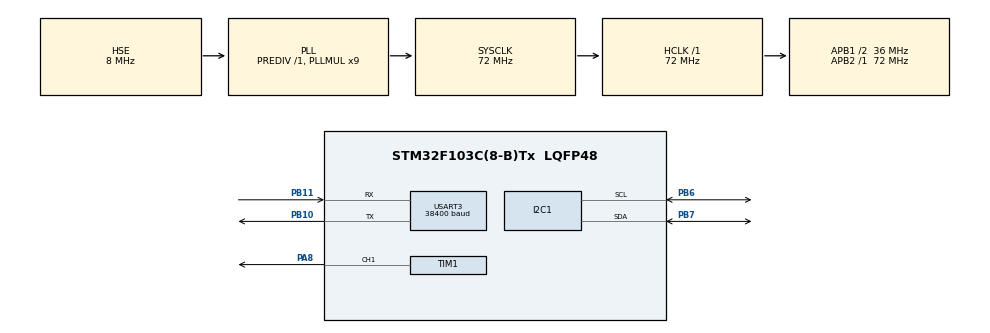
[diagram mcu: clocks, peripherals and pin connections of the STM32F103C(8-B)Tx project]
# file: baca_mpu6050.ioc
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I2C1.I2C_Mode=I2C_Fast
Mcu.Family=STM32F1
Mcu.Name=STM32F103C(8-B)Tx
Mcu.Package=LQFP48
NVIC.PriorityGroup=NVIC_PRIORITYGROUP_4
PA13.Mode=Serial_Wire
PA13.Signal=SYS_JTMS-SWDIO
PA14.Mode=Serial_Wire
PA14.Signal=SYS_JTCK-SWCLK
PA8.Signal=S_TIM1_CH1
PB10.Mode=Asynchronous
PB10.Signal=USART3_TX
PB11.Mode=Asynchronous
PB11.Signal=USART3_RX
PB6.Mode=I2C
PB6.Signal=I2C1_SCL
PB7.Mode=I2C
PB7.Signal=I2C1_SDA
PD0-OSC_IN.Mode=HSE-External-Oscillator
PD0-OSC_IN.Signal=RCC_OSC_IN
PD1-OSC_OUT.Mode=HSE-External-Oscillator
PD1-OSC_OUT.Signal=RCC_OSC_OUT
ProjectManager.HeapSize=0x200
ProjectManager.StackSize=0x400
ProjectManager.TargetToolchain=TrueSTUDIO
RCC.AHBFreq_Value=72000000
RCC.APB1CLKDivider=RCC_HCLK_DIV2
RCC.APB1Freq_Value=36000000
RCC.APB1TimFreq_Value=72000000
RCC.APB2Freq_Value=72000000
RCC.APB2TimFreq_Value=72000000
RCC.HCLKFreq_Value=72000000
RCC.PLLMUL=RCC_PLL_MUL9
RCC.PLLSourceVirtual=RCC_PLLSOURCE_HSE
RCC.SYSCLKFreq_VALUE=72000000
RCC.SYSCLKSource=RCC_SYSCLKSOURCE_PLLCLK
RCC.USBFreq_Value=72000000
SH.S_TIM1_CH1.0=TIM1_CH1,PWM Generation1 CH1
TIM1.Channel-PWM\ Generation1\ CH1=TIM_CHANNEL_1
TIM1.ClockDivision=TIM_CLOCKDIVISION_DIV4
TIM1.Period=9999
TIM1.Prescaler=35
USART3.BaudRate=38400
USART3.VirtualMode=VM_ASYNC
VP_TIM1_VS_ClockSourceINT.Mode=Internal
board=custom

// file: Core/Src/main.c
/* USER CODE BEGIN Header */
/**
  ******************************************************************************
  * @file           : main.c
  * @brief          : Main program body
  ******************************************************************************
  * @attention
  *
  * <h2><center>&copy; Copyright (c) 2021 STMicroelectronics.
  * All rights reserved.</center></h2>
  *
  * This software component is licensed by ST under BSD 3-Clause license,
  * the "License"; You may not use this file except in compliance with the
  * License. You may obtain a copy of the License at:
  *                        opensource.org/licenses/BSD-3-Clause
  *
  ******************************************************************************
  */
/* USER CODE END Header */
#include "main.h"

/* USER CODE BEGIN Includes */
#include "string.h"
#include "stdbool.h"
#include "math.h"
/* USER CODE END Includes */

I2C_HandleTypeDef hi2c1;

TIM_HandleTypeDef htim1;

UART_HandleTypeDef huart3;

void SystemClock_Config(void);
static void MX_GPIO_Init(void);
static void MX_I2C1_Init(void);
static void MX_USART3_UART_Init(void);
static void MX_TIM1_Init(void);
void HAL_TIM_MspPostInit(TIM_HandleTypeDef *htim);

/* USER CODE BEGIN 0 */

////////////////////////////////////////GABUNGAN REGISTER//////////////////////////////////////////
#define MPU_ADDRESS 0x68<<1
uint8_t buffer[2];
uint8_t settings_buffer1[2] = {0x1B, 0x00}; // untuk setting gyro  diberi nilai 0x00
uint8_t settings_buffer2[2] = {0x1C, 0x00}; // untuk setting accel diberi nilai 0x00
uint8_t sleep_off[2] = {0x6B, 0x00}; // untuk membangunkan MPU6050
uint8_t mpu_start[1] = {0x3B}; //untuk mulai start baca sensor dari alamt 3B (Accel_Xout_H)
uint8_t mpu_start2[1] = {0x43}; //untuk mulai start baca sensor dari alamt 3B (GYRO_Xout_H)
uint8_t mpu6050_buffer[14]; //array untuk menyimpan data dari sensor
//int16_t shift_x_gyro, shift_y_gyro, shift_z_gyro, shift_x_accel, shift_y_accel, shift_z_accel, shift_temp;
int16_t aX1,aY1,aZ1;
int16_t gX1,gY1,gZ1;
float temp;
//double gyro_x, gyro_y, gyro_z, accel_x, accel_y, accel_z;
float aX,aY,aZ;
float gX,gY,gZ;
float accRoll, accPitch; //sudut dari accel
float gyrRoll, gyrPitch; //sudut dari gyro
float roll, pitch; //value after filter

float dt; //interval waktu (timer)
unsigned long waktu;

const int x1 = -22, x2 = 5000;
int val;
int servo;

///////////////////////////////////////////////////////////////////////////////////////////////////

/* USER CODE END 0 */

int main(void)
{
  /* USER CODE BEGIN 1 */
	uint8_t uart_send_buffer[50];
  /* USER CODE END 1 */

  /* MCU Configuration--------------------------------------------------------*/

  /* Reset of all peripherals, Initializes the Flash interface and the Systick. */
  HAL_Init();

  /* Configure the system clock */
  SystemClock_Config();

  /* Initialize all configured peripherals */
  MX_GPIO_Init();
  MX_I2C1_Init();
  MX_USART3_UART_Init();
  MX_TIM1_Init();
  /* USER CODE BEGIN 2 */
  if (HAL_I2C_IsDeviceReady(&hi2c1, MPU_ADDRESS, 2, 100) == HAL_OK) {
  		sprintf((char*) uart_send_buffer, "slave ready!\r\n");
  		HAL_UART_Transmit(&huart3, uart_send_buffer,
  				(uint16_t) strlen((char*) uart_send_buffer), 50);
} else {
  		sprintf((char*) uart_send_buffer, "slave error\r\n");
  		HAL_UART_Transmit(&huart3, uart_send_buffer,
  				(uint16_t) strlen((char*) uart_send_buffer), 50);
}
  //SLEEP MOD OFF
   HAL_I2C_Master_Transmit(&hi2c1, MPU_ADDRESS, sleep_off, 2, 100);
   HAL_I2C_Master_Transmit(&hi2c1, MPU_ADDRESS, settings_buffer1, 2, 100);
   HAL_I2C_Master_Transmit(&hi2c1, MPU_ADDRESS, settings_buffer2, 2, 100);
  //SERVO
   HAL_TIM_PWM_Start(&htim1, TIM_CHANNEL_1);
   htim1.Instance->CCR1 = 3000;
   HAL_Delay(2000);
  /* USER CODE END 2 */

  /* Infinite loop */
  /* USER CODE BEGIN WHILE */

	  while (1)
	  {
		  HAL_I2C_Master_Transmit(&hi2c1, MPU_ADDRESS, mpu_start, 1,100);
		  HAL_I2C_Master_Receive(&hi2c1, MPU_ADDRESS, mpu6050_buffer, 8,100);
		  waktu = HAL_GetTick();
		  aX1 = (mpu6050_buffer[0]<<8 | mpu6050_buffer[1]);
		  aY1 = (mpu6050_buffer[2]<<8 | mpu6050_buffer[3]);
		  aZ1 = (mpu6050_buffer[4]<<8 | mpu6050_buffer[5]);

		  temp = (mpu6050_buffer[6]<<8 | mpu6050_buffer[7]);

		  aX = (float) aX1  / 16384.00;
		  aY = (float) aY1  / 16384.00;
		  aZ = (float) aZ1  / 16384.00;

		  accRoll = (atan2(aX,aZ))*57.2958;
		  accPitch = (atan2(aY,aZ))*57.2958;

		  for (int i = 0; i<10 ; i++)
		    {
			  dt = (HAL_GetTick() - waktu)/1000.00;
			  HAL_I2C_Master_Transmit(&hi2c1, MPU_ADDRESS, mpu_start2, 1,100);
			  HAL_I2C_Master_Receive(&hi2c1, MPU_ADDRESS, mpu6050_buffer, 6,100);

			  gX1 = (mpu6050_buffer[8]<<8 | mpu6050_buffer[9]);
			  gY1 = (mpu6050_buffer[10]<<8 | mpu6050_buffer[11]);
			  gZ1 = (mpu6050_buffer[12]<<8 | mpu6050_buffer[13]);

			  gX = (float) gX1  / 131;
			  gY = (float) gY1  / 131;
			  gZ = (float) gZ1  / 131;

			  gyrRoll += gY*dt;
			  gyrPitch += gX*dt;
			  if(i==100-1)
			    {
			       gyrRoll = (gyrRoll/100)*57.2958;
			       gyrPitch = (gyrPitch/100)*57.2958;
			       break;
			     }
			 }
		  //COMPLEMENTARY FILTER
		  roll = (accRoll * 0.9998 + gyrRoll * 0.0002) / (0.9998+0.0002);
		  pitch = (accPitch * 0.9998 + gyrPitch * 0.0002) / (0.9998+0.0002);

		  sprintf((char*) uart_send_buffer, "roll : %f\r\n",roll);
		  HAL_UART_Transmit(&huart3, uart_send_buffer, (uint16_t) strlen((char*) uart_send_buffer), 50);

		  val = roll;

		  servo = (val* x1) + x2;
		  htim1.Instance->CCR1 = servo;

		  sprintf((char*) uart_send_buffer, "val : %d\r\n",val);
		  HAL_UART_Transmit(&huart3, uart_send_buffer, (uint16_t) strlen((char*) uart_send_buffer), 50);
		  sprintf((char*) uart_send_buffer, "servo.val : %d\r\n",servo);
		  HAL_UART_Transmit(&huart3, uart_send_buffer, (uint16_t) strlen((char*) uart_send_buffer), 50);

		  HAL_Delay(100);
//	sprintf((char*) uart_send_buffer, "nilai aX1 : %d\r\n",aX1);
//	HAL_UART_Transmit(&huart3, uart_send_buffer, (uint16_t) strlen((char*) uart_send_buffer), 50);
//	sprintf((char*) uart_send_buffer, "nilai aY1 : %d\r\n",aY1);
//	HAL_UART_Transmit(&huart3, uart_send_buffer, (uint16_t) strlen((char*) uart_send_buffer), 50);
//	sprintf((char*) uart_send_buffer, "nilai aZ1 : %d\r\n",aZ1);
//	HAL_UART_Transmit(&huart3, uart_send_buffer, (uint16_t) strlen((char*) uart_send_buffer), 50);
//	sprintf((char*) uart_send_buffer, "nilai TEMP : %f\r\n",temp);
//	HAL_UART_Transmit(&huart3, uart_send_buffer, (uint16_t) strlen((char*) uart_send_buffer), 50);
//	sprintf((char*) uart_send_buffer, "nilai gX1 : %d\r\n",gX1);
//	HAL_UART_Transmit(&huart3, uart_send_buffer, (uint16_t) strlen((char*) uart_send_buffer), 50);
//	sprintf((char*) uart_send_buffer, "nilai gY1 : %d\r\n",gY1);
//	HAL_UART_Transmit(&huart3, uart_send_buffer, (uint16_t) strlen((char*) uart_send_buffer), 50);
//	sprintf((char*) uart_send_buffer, "nilai gZ1 : %d\r\n",gZ1);
//	HAL_UART_Transmit(&huart3, uart_send_buffer, (uint16_t) strlen((char*) uart_send_buffer), 50);

	//HAL_Delay(1000);

 }

    /* USER CODE END WHILE */

}

void SystemClock_Config(void)
{
  RCC_OscInitTypeDef RCC_OscInitStruct = {0};
  RCC_ClkInitTypeDef RCC_ClkInitStruct = {0};

  /** Initializes the RCC Oscillators according to the specified parameters
  * in the RCC_OscInitTypeDef structure.
  */
  RCC_OscInitStruct.OscillatorType = RCC_OSCILLATORTYPE_HSE;
  RCC_OscInitStruct.HSEState = RCC_HSE_ON;
  RCC_OscInitStruct.HSEPredivValue = RCC_HSE_PREDIV_DIV1;
  RCC_OscInitStruct.HSIState = RCC_HSI_ON;
  RCC_OscInitStruct.PLL.PLLState = RCC_PLL_ON;
  RCC_OscInitStruct.PLL.PLLSource = RCC_PLLSOURCE_HSE;
  RCC_OscInitStruct.PLL.PLLMUL = RCC_PLL_MUL9;
  if (HAL_RCC_OscConfig(&RCC_OscInitStruct) != HAL_OK)
  {
    Error_Handler();
  }
  /** Initializes the CPU, AHB and APB buses clocks
  */
  RCC_ClkInitStruct.ClockType = RCC_CLOCKTYPE_HCLK|RCC_CLOCKTYPE_SYSCLK
                              |RCC_CLOCKTYPE_PCLK1|RCC_CLOCKTYPE_PCLK2;
  RCC_ClkInitStruct.SYSCLKSource = RCC_SYSCLKSOURCE_PLLCLK;
  RCC_ClkInitStruct.AHBCLKDivider = RCC_SYSCLK_DIV1;
  RCC_ClkInitStruct.APB1CLKDivider = RCC_HCLK_DIV2;
  RCC_ClkInitStruct.APB2CLKDivider = RCC_HCLK_DIV1;

  if (HAL_RCC_ClockConfig(&RCC_ClkInitStruct, FLASH_LATENCY_2) != HAL_OK)
  {
    Error_Handler();
  }
}

static void MX_I2C1_Init(void)
{

  hi2c1.Instance = I2C1;
  hi2c1.Init.ClockSpeed = 400000;
  hi2c1.Init.DutyCycle = I2C_DUTYCYCLE_2;
  hi2c1.Init.OwnAddress1 = 0;
  hi2c1.Init.AddressingMode = I2C_ADDRESSINGMODE_7BIT;
  hi2c1.Init.DualAddressMode = I2C_DUALADDRESS_DISABLE;
  hi2c1.Init.OwnAddress2 = 0;
  hi2c1.Init.GeneralCallMode = I2C_GENERALCALL_DISABLE;
  hi2c1.Init.NoStretchMode = I2C_NOSTRETCH_DISABLE;
  if (HAL_I2C_Init(&hi2c1) != HAL_OK)
  {
    Error_Handler();
  }

}

static void MX_TIM1_Init(void)
{

  TIM_ClockConfigTypeDef sClockSourceConfig = {0};
  TIM_MasterConfigTypeDef sMasterConfig = {0};
  TIM_OC_InitTypeDef sConfigOC = {0};
  TIM_BreakDeadTimeConfigTypeDef sBreakDeadTimeConfig = {0};

  htim1.Instance = TIM1;
  htim1.Init.Prescaler = 35;
  htim1.Init.CounterMode = TIM_COUNTERMODE_UP;
  htim1.Init.Period = 9999;
  htim1.Init.ClockDivision = TIM_CLOCKDIVISION_DIV4;
  htim1.Init.RepetitionCounter = 0;
  htim1.Init.AutoReloadPreload = TIM_AUTORELOAD_PRELOAD_DISABLE;
  if (HAL_TIM_Base_Init(&htim1) != HAL_OK)
  {
    Error_Handler();
  }
  sClockSourceConfig.ClockSource = TIM_CLOCKSOURCE_INTERNAL;
  if (HAL_TIM_ConfigClockSource(&htim1, &sClockSourceConfig) != HAL_OK)
  {
    Error_Handler();
  }
  if (HAL_TIM_PWM_Init(&htim1) != HAL_OK)
  {
    Error_Handler();
  }
  sMasterConfig.MasterOutputTrigger = TIM_TRGO_RESET;
  sMasterConfig.MasterSlaveMode = TIM_MASTERSLAVEMODE_DISABLE;
  if (HAL_TIMEx_MasterConfigSynchronization(&htim1, &sMasterConfig) != HAL_OK)
  {
    Error_Handler();
  }
  sConfigOC.OCMode = TIM_OCMODE_PWM1;
  sConfigOC.Pulse = 0;
  sConfigOC.OCPolarity = TIM_OCPOLARITY_HIGH;
  sConfigOC.OCNPolarity = TIM_OCNPOLARITY_HIGH;
  sConfigOC.OCFastMode = TIM_OCFAST_DISABLE;
  sConfigOC.OCIdleState = TIM_OCIDLESTATE_RESET;
  sConfigOC.OCNIdleState = TIM_OCNIDLESTATE_RESET;
  if (HAL_TIM_PWM_ConfigChannel(&htim1, &sConfigOC, TIM_CHANNEL_1) != HAL_OK)
  {
    Error_Handler();
  }
  sBreakDeadTimeConfig.OffStateRunMode = TIM_OSSR_DISABLE;
  sBreakDeadTimeConfig.OffStateIDLEMode = TIM_OSSI_DISABLE;
  sBreakDeadTimeConfig.LockLevel = TIM_LOCKLEVEL_OFF;
  sBreakDeadTimeConfig.DeadTime = 0;
  sBreakDeadTimeConfig.BreakState = TIM_BREAK_DISABLE;
  sBreakDeadTimeConfig.BreakPolarity = TIM_BREAKPOLARITY_HIGH;
  sBreakDeadTimeConfig.AutomaticOutput = TIM_AUTOMATICOUTPUT_DISABLE;
  if (HAL_TIMEx_ConfigBreakDeadTime(&htim1, &sBreakDeadTimeConfig) != HAL_OK)
  {
    Error_Handler();
  }
  HAL_TIM_MspPostInit(&htim1);

}

static void MX_USART3_UART_Init(void)
{

  huart3.Instance = USART3;
  huart3.Init.BaudRate = 38400;
  huart3.Init.WordLength = UART_WORDLENGTH_8B;
  huart3.Init.StopBits = UART_STOPBITS_1;
  huart3.Init.Parity = UART_PARITY_NONE;
  huart3.Init.Mode = UART_MODE_TX_RX;
  huart3.Init.HwFlowCtl = UART_HWCONTROL_NONE;
  huart3.Init.OverSampling = UART_OVERSAMPLING_16;
  if (HAL_UART_Init(&huart3) != HAL_OK)
  {
    Error_Handler();
  }

}

static void MX_GPIO_Init(void)
{

  /* GPIO Ports Clock Enable */
  __HAL_RCC_GPIOD_CLK_ENABLE();
  __HAL_RCC_GPIOB_CLK_ENABLE();
  __HAL_RCC_GPIOA_CLK_ENABLE();

}

void Error_Handler(void)
{
  __disable_irq();
  while (1)
  {
  }
}

/************************ (C) COPYRIGHT STMicroelectronics *****END OF FILE****/
